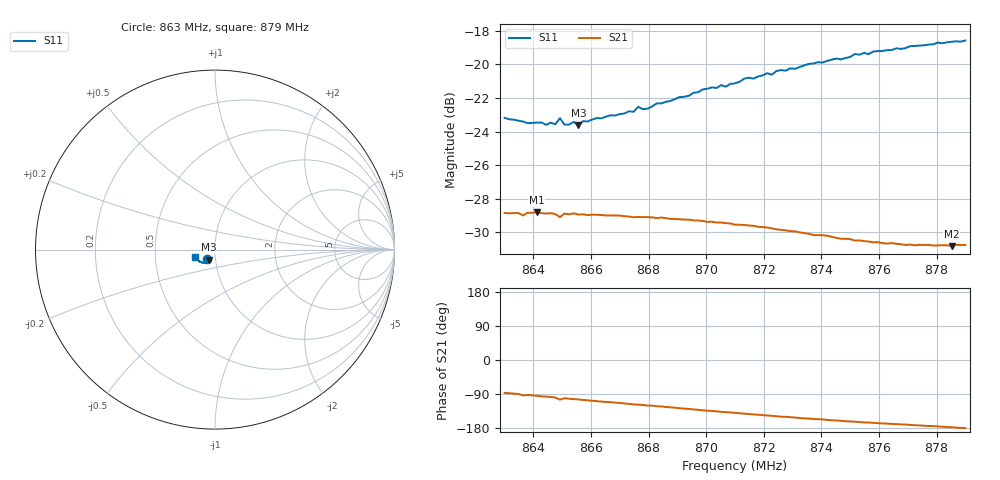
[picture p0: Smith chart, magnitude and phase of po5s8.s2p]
# HZ S RI R 50
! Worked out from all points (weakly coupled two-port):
!   101 points, 863 MHz to 879 MHz, reference 50 ohm
!   highest |S21| = -28.81 dB at 864.12 MHz (marker M1); lowest = -30.8 dB at 878.52 MHz (marker M2)
!   lowest |S11| = -23.6 dB at 865.56 MHz (marker M3), VSWR 1.14, Z = 46.3 - j5.19 ohm
!   |S11| at or under -10 dB: start of sweep to end of sweep
!   S12 and S22 are empty: the file has one direction only
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8.63e8  -0.0436 -0.0539  0.00215 -0.0361  0 0  0 0
8.6364e8  -0.0406 -0.054  -0.0022 -0.0354  0 0  0 0
8.6412e8  -0.0383 -0.0551  -0.00279 -0.0362  0 0  0 0
8.6476e8  -0.0367 -0.0552  -0.00556 -0.0354  0 0  0 0
8.6492e8  -0.0392 -0.057  -0.00892 -0.0339  0 0  0 0
8.6508e8  -0.035 -0.0561  -0.00673 -0.0353  0 0  0 0
8.654e8  -0.036 -0.0571  -0.00817 -0.0351  0 0  0 0
8.6556e8  -0.035 -0.0557  -0.00873 -0.0347  0 0  0 0
8.6572e8  -0.0344 -0.0583  -0.00948 -0.0345  0 0  0 0
8.6748e8  -0.0342 -0.0636  -0.016 -0.0312  0 0  0 0
8.6764e8  -0.0365 -0.0652  -0.0164 -0.0311  0 0  0 0
8.6796e8  -0.0359 -0.0645  -0.0176 -0.0304  0 0  0 0
8.6844e8  -0.0373 -0.0668  -0.0189 -0.0295  0 0  0 0
8.6988e8  -0.0435 -0.0721  -0.0232 -0.0251  0 0  0 0
8.71e8  -0.0487 -0.073  -0.0253 -0.0217  0 0  0 0
8.7132e8  -0.0511 -0.0748  -0.0261 -0.0207  0 0  0 0
8.7372e8  -0.069 -0.0732  -0.0283 -0.0128  0 0  0 0
8.7468e8  -0.0765 -0.0696  -0.0285 -0.0101  0 0  0 0
8.7516e8  -0.0825 -0.0687  -0.0286 -0.00884  0 0  0 0
8.7644e8  -0.0915 -0.0615  -0.0288 -0.00571  0 0  0 0
8.7852e8  -0.1075 -0.0454  -0.0288 -0.00122  0 0  0 0
8.79e8  -0.1111 -0.0391  -0.029 -0.000116  0 0  0 0
